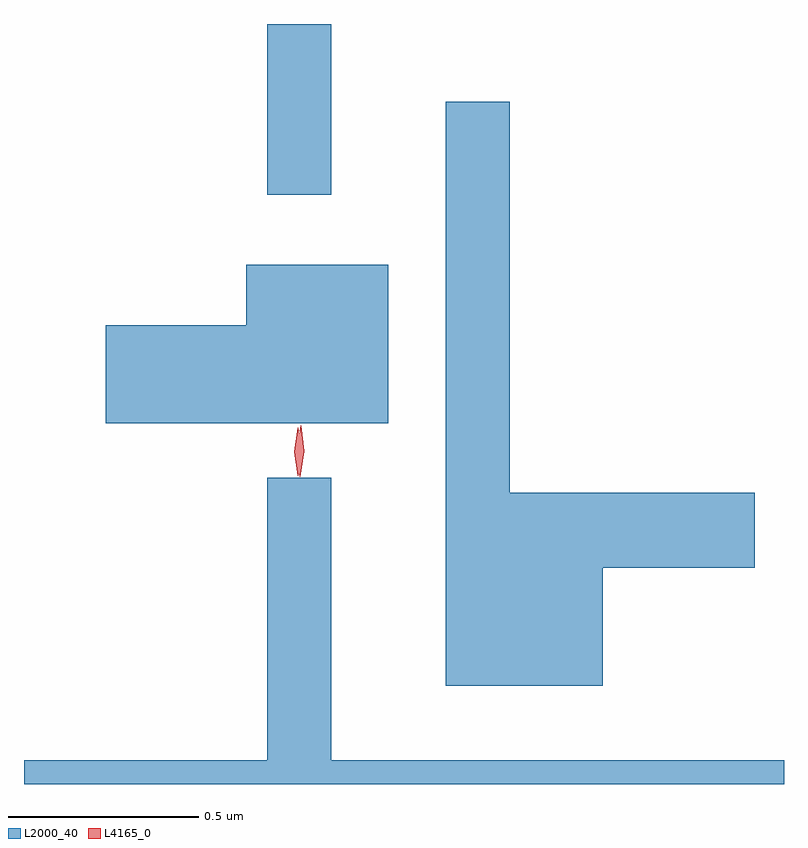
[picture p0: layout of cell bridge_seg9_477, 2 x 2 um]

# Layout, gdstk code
import gdstk
lib = gdstk.Library(unit=1e-6, precision=1e-09)
def R(c, l, rs):  # rectangles x0, y0, x1, y1
    for r in rs: c.add(gdstk.rectangle(r[:2], r[2:], *l))
def P(c, l, *ps):  # polygons
    for p in ps: c.add(gdstk.Polygon(p, *l))
L2000_40 = (2000, 40)
L4165_0 = (4165, 0)

bridge_seg9_477 = lib.new_cell('bridge_seg9_477')
R(bridge_seg9_477, L2000_40, [(428.101,1986.913,428.269,1987.362)])
P(bridge_seg9_477, L2000_40, [(428.984,1985.931),(429.384,1985.931),(429.384,1986.129),(428.739,1986.129),(428.739,1987.158),(428.571,1987.158),(428.571,1985.621),(428.984,1985.621)],
  [(428.419,1986.729),(428.046,1986.729),(428.046,1986.569),(427.676,1986.569),(427.676,1986.311),(428.419,1986.311)],
  [(429.461,1985.424),(428.269,1985.424),(428.269,1986.168),(428.101,1986.168),(428.101,1985.424),(427.461,1985.424),(427.461,1985.362),(429.461,1985.362)])
P(bridge_seg9_477, L4165_0, [(428.187,1986.17),(428.178,1986.238),(428.189,1986.305),(428.189,1986.306),(428.19,1986.305),(428.198,1986.238),(428.188,1986.17),(428.188,1986.17)],
  [(428.182,1986.173),(428.182,1986.173),(428.172,1986.236),(428.182,1986.299),(428.182,1986.3),(428.183,1986.299),(428.192,1986.236),(428.183,1986.173)])

lib.write_gds('bridge_seg9_477.gds')
